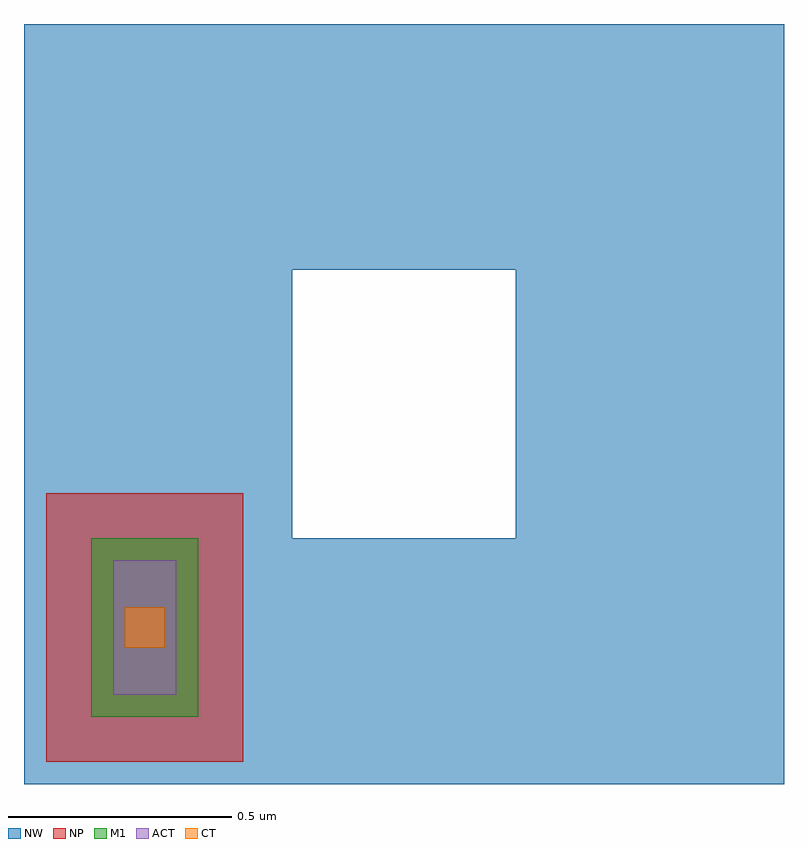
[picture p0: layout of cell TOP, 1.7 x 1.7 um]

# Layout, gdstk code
import gdstk
lib = gdstk.Library(unit=1e-6, precision=1e-09)
def R(c, l, rs):  # rectangles x0, y0, x1, y1
    for r in rs: c.add(gdstk.rectangle(r[:2], r[2:], *l))
ACT = (2, 1)
NW = (9, 1)
NP = (52, 1)
CT = (72, 1)
M1 = (81, 1)

top = lib.new_cell('TOP')
R(top, ACT, [(0.2,0.2,0.34,0.5)])
R(top, NW, [(0,0,1.7,0.55), (0,0.55,0.6,1.15), (1.1,0.55,1.7,1.15), (0,1.15,1.7,1.7)])
R(top, NP, [(0.05,0.05,0.49,0.65)])
R(top, CT, [(0.225,0.305,0.315,0.395)])
R(top, M1, [(0.15,0.15,0.39,0.55)])

lib.write_gds('TOP.gds')
